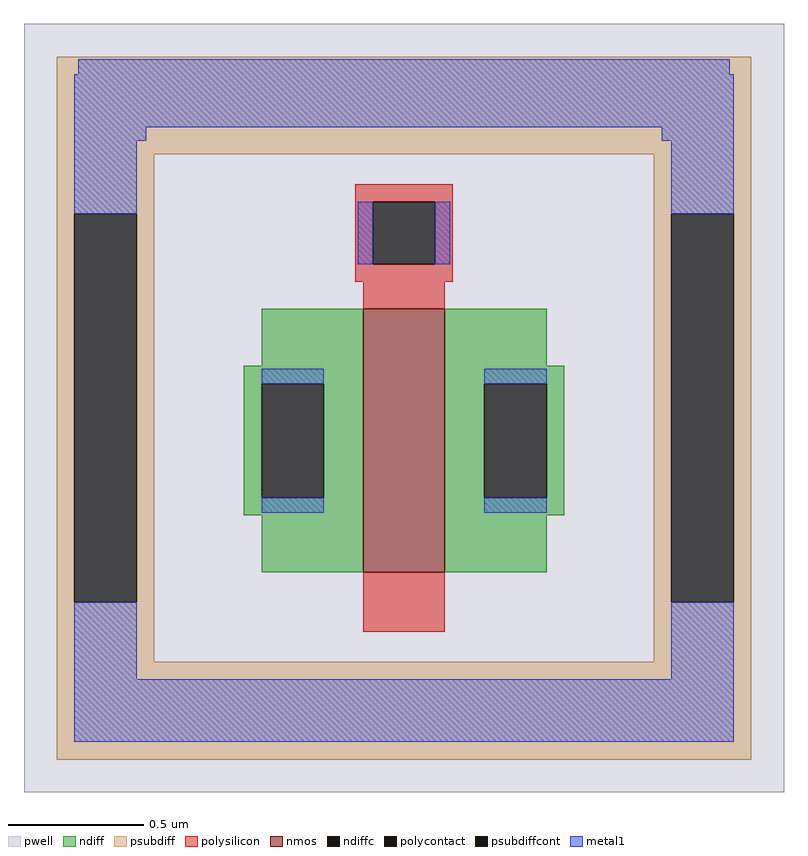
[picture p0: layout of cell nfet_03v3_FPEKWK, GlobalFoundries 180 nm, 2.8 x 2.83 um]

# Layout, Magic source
magic
tech gf180mcuD
magscale 1 10
<< pwell >>
rect -280 -283 280 283
<< nmos >>
rect -30 -121 30 73
<< ndiff >>
rect -105 31 -30 73
rect -118 18 -30 31
rect -118 -66 -105 18
rect -59 -66 -30 18
rect -118 -79 -30 -66
rect -105 -121 -30 -79
rect 30 31 105 73
rect 30 18 118 31
rect 30 -66 59 18
rect 105 -66 118 18
rect 30 -79 118 -66
rect 30 -121 105 -79
<< ndiffc >>
rect -105 -66 -59 18
rect 59 -66 105 18
<< psubdiff >>
rect -256 187 256 259
rect -256 143 -184 187
rect -256 -143 -243 143
rect -197 -143 -184 143
rect 184 143 256 187
rect -256 -187 -184 -143
rect 184 -143 197 143
rect 243 -143 256 143
rect 184 -187 256 -143
rect -256 -259 256 -187
<< psubdiffcont >>
rect -243 -143 -197 143
rect 197 -143 243 143
<< polysilicon >>
rect -36 152 36 165
rect -36 106 -23 152
rect 23 106 36 152
rect -36 93 36 106
rect -30 73 30 93
rect -30 -165 30 -121
<< polycontact >>
rect -23 106 23 152
<< metal1 >>
rect -240 246 240 257
rect -243 207 243 246
rect -243 197 -190 207
rect 190 197 243 207
rect -243 143 -197 197
rect -34 106 -23 152
rect 23 106 34 152
rect 197 143 243 197
rect -105 18 -59 29
rect -105 -77 -59 -66
rect 59 18 105 29
rect 59 -77 105 -66
rect -243 -200 -197 -143
rect 197 -200 243 -143
rect -243 -246 243 -200
<< properties >>
string FIXED_BBOX -220 -223 220 223
string gencell nfet_03v3
string library gf180mcu
string parameters w 0.97 l 0.3 m 1 nf 1 diffcov 50 polycov 100 guard 1 glc 1 grc 1 gtc 0 gbc 0 tbcov 100 rlcov 100 topc 1 botc 0 poverlap 0 doverlap 1 lmin 0.28 wmin 0.22 class mosfet full_metal 1 compatible {nfet_03v3 nfet_05v0 nfet_06v0 nfet_06v0_nvt}
<< end >>
